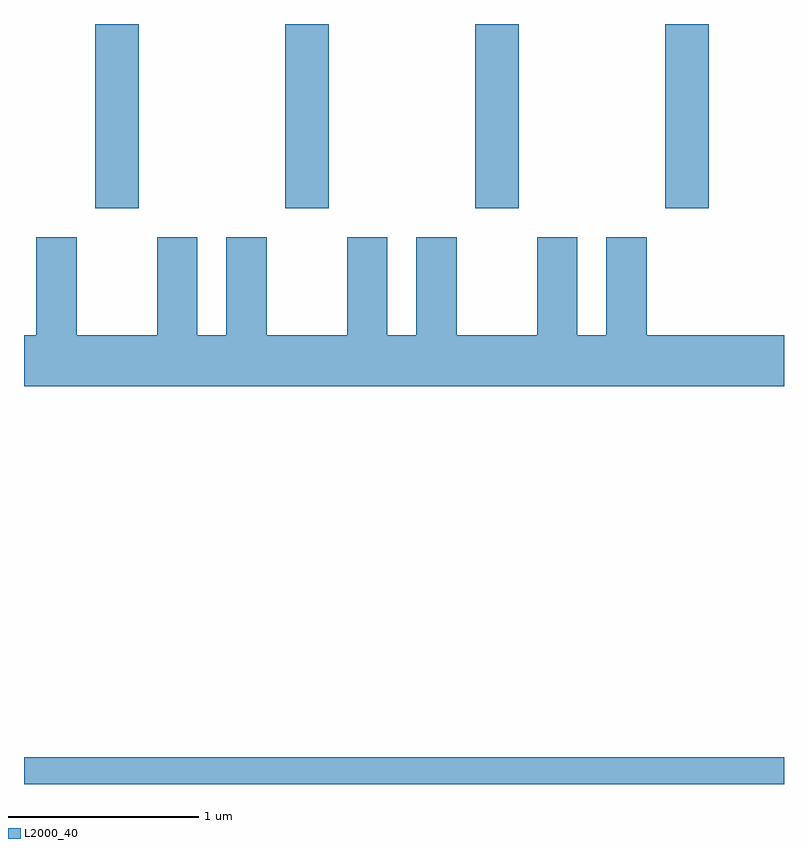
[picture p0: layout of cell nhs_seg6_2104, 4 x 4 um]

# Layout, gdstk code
import gdstk
lib = gdstk.Library(unit=1e-6, precision=1e-09)
def R(c, l, rs):  # rectangles x0, y0, x1, y1
    for r in rs: c.add(gdstk.rectangle(r[:2], r[2:], *l))
def A(c, l, x, y, w, h, nx, ny, dx, dy):  # array of equal rectangles
    R(c, l, [(x+i*dx, y+j*dy, x+i*dx+w, y+j*dy+h) for i in range(nx) for j in range(ny)])
def P(c, l, *ps):  # polygons
    for p in ps: c.add(gdstk.Polygon(p, *l))
L2000_40 = (2000, 40)

nhs_seg6_2104 = lib.new_cell('nhs_seg6_2104')
A(nhs_seg6_2104, L2000_40, 249.986, 1553.191, 0.228, 0.971, 4, 1, 1, 0)
R(nhs_seg6_2104, L2000_40, [(249.611,1550.162,253.611,1550.304)])
P(nhs_seg6_2104, L2000_40, [(253.611,1552.524),(252.889,1552.524),(252.889,1553.039),(252.676,1553.039),(252.676,1552.524),(252.524,1552.524),(252.524,1553.039),(252.311,1553.039),(252.311,1552.524),(251.889,1552.524),(251.889,1553.039),(251.676,1553.039),(251.676,1552.524),(251.524,1552.524),(251.524,1553.039),(251.311,1553.039),(251.311,1552.524),(250.889,1552.524),(250.889,1553.039),(250.676,1553.039),(250.676,1552.524),(250.524,1552.524),(250.524,1553.039),(250.311,1553.039),(250.311,1552.524),(249.889,1552.524),(249.889,1553.039),(249.676,1553.039),(249.676,1552.524),(249.611,1552.524),(249.611,1552.256),(253.611,1552.256)])

lib.write_gds('nhs_seg6_2104.gds')
